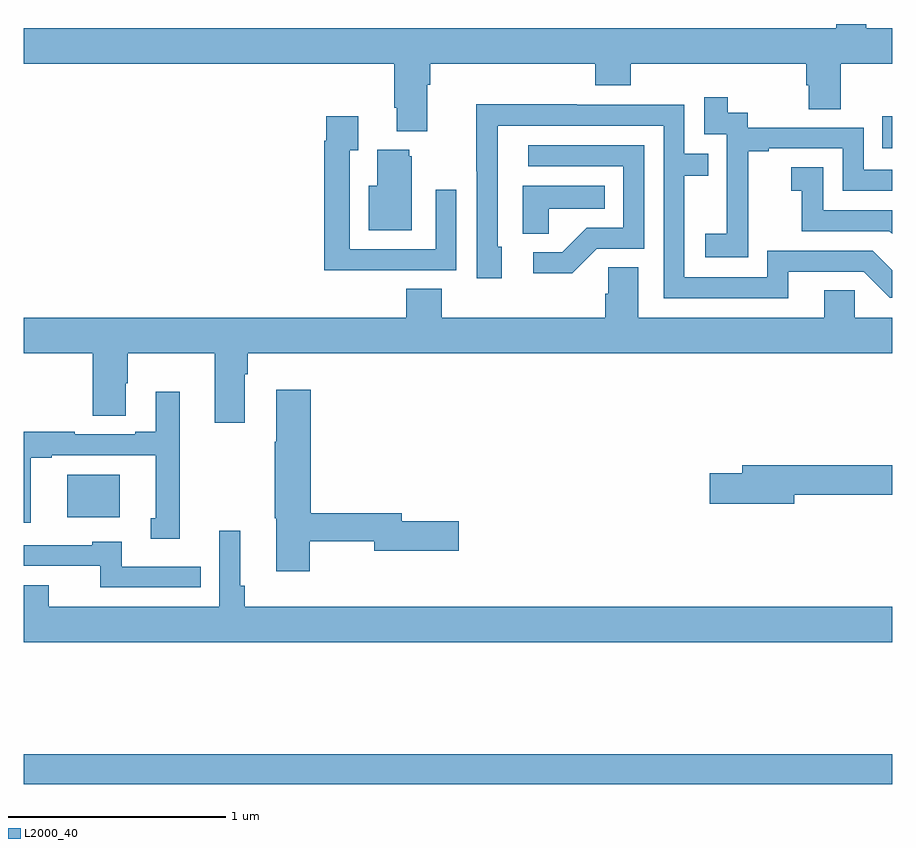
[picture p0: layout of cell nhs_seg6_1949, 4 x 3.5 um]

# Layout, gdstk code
import gdstk
lib = gdstk.Library(unit=1e-6, precision=1e-09)
def R(c, l, rs):  # rectangles x0, y0, x1, y1
    for r in rs: c.add(gdstk.rectangle(r[:2], r[2:], *l))
def P(c, l, *ps):  # polygons
    for p in ps: c.add(gdstk.Polygon(p, *l))
L2000_40 = (2000, 40)

nhs_seg6_1949 = lib.new_cell('nhs_seg6_1949')
R(nhs_seg6_1949, L2000_40, [(227,964,231,964.136), (227.201,965.228,227.443,965.425), (230.953,966.927,231,967.075)])
P(nhs_seg6_1949, L2000_40, [(228.859,967.22),(228.872,967.22),(228.872,967.316),(229.631,967.316),(229.631,967.217),(229.796,967.217),(229.796,967.316),(230.603,967.316),(230.603,967.218),(230.615,967.218),(230.615,967.108),(230.763,967.108),(230.763,967.316),(231,967.316),(231,967.48),(230.881,967.48),(230.881,967.5),(230.741,967.5),(230.741,967.48),(227,967.48),(227,967.316),(228.707,967.316),(228.707,967.114),(228.719,967.114),(228.719,967.007),(228.859,967.007)],
  [(230.337,966.631),(230.336,966.631),(230.336,966.915),(230.431,966.915),(230.431,966.927),(230.772,966.927),(230.772,966.732),(231,966.732),(231,966.828),(230.868,966.828),(230.868,967.023),(230.334,967.023),(230.334,967.092),(230.242,967.092),(230.242,967.162),(230.133,967.162),(230.133,966.993),(230.238,966.993),(230.238,966.764),(230.237,966.764),(230.237,966.535),(230.139,966.535),(230.139,966.425),(230.337,966.425)],
  [(230.521,966.36),(230.868,966.36),(230.988,966.24),(231,966.24),(231,966.366),(230.91,966.456),(230.424,966.456),(230.424,966.333),(230.043,966.333),(230.043,966.802),(230.153,966.802),(230.153,966.903),(230.043,966.903),(230.043,967.128),(229.547,967.128),(229.547,967.13),(229.084,967.13),(229.084,966.823),(229.086,966.823),(229.086,966.33),(229.201,966.33),(229.201,966.474),(229.182,966.474),(229.182,967.032),(229.947,967.032),(229.947,966.237),(230.521,966.237)],
  [(228.677,966.366),(228.993,966.366),(228.993,966.736),(228.897,966.736),(228.897,966.462),(228.501,966.462),(228.501,966.919),(228.541,966.919),(228.541,967.075),(228.393,967.075),(228.393,966.962),(228.385,966.962),(228.385,966.365),(228.677,966.365)],
  [(229.638,966.465),(229.857,966.465),(229.857,966.942),(229.323,966.942),(229.323,966.846),(229.761,966.846),(229.761,966.561),(229.592,966.561),(229.481,966.45),(229.347,966.45),(229.347,966.353),(229.525,966.353)],
  [(228.787,966.891),(228.776,966.891),(228.776,966.922),(228.629,966.922),(228.629,966.754),(228.59,966.754),(228.59,966.551),(228.787,966.551)],
  [(231,966.642),(230.682,966.642),(230.682,966.841),(230.535,966.841),(230.535,966.731),(230.584,966.731),(230.584,966.546),(230.987,966.546),(231,966.533)],
  [(229.419,966.65),(229.676,966.65),(229.676,966.754),(229.298,966.754),(229.298,966.535),(229.419,966.535)],
  [(228.019,965.888),(228.032,965.888),(228.032,965.984),(231,965.984),(231,966.148),(230.826,966.148),(230.826,966.275),(230.687,966.275),(230.687,966.148),(229.831,966.148),(229.831,966.38),(229.692,966.38),(229.692,966.257),(229.679,966.257),(229.679,966.148),(228.926,966.148),(228.926,966.281),(228.761,966.281),(228.761,966.148),(227,966.148),(227,965.984),(227.318,965.984),(227.318,965.695),(227.47,965.695),(227.47,965.846),(227.478,965.846),(227.478,965.984),(227.879,965.984),(227.879,965.664),(228.019,965.664)],
  [(228.318,965.118),(228.614,965.118),(228.614,965.075),(229.003,965.075),(229.003,965.21),(228.742,965.21),(228.742,965.246),(228.323,965.246),(228.323,965.815),(228.164,965.815),(228.164,965.576),(228.157,965.576),(228.157,965.223),(228.164,965.223),(228.164,964.98),(228.318,964.98)],
  [(227.719,965.806),(227.609,965.806),(227.609,965.623),(227.513,965.623),(227.513,965.61),(227.234,965.61),(227.234,965.623),(227,965.623),(227,965.202),(227.032,965.202),(227.032,965.502),(227.128,965.502),(227.128,965.514),(227.609,965.514),(227.609,965.223),(227.585,965.223),(227.585,965.129),(227.719,965.129)],
  [(230.548,965.332),(231,965.332),(231,965.468),(230.309,965.468),(230.309,965.432),(230.16,965.432),(230.16,965.29),(230.548,965.29)],
  [(231,964.816),(228.017,964.816),(228.017,964.912),(227.998,964.912),(227.998,965.167),(227.901,965.167),(227.901,964.816),(227.116,964.816),(227.116,964.915),(227,964.915),(227,964.652),(231,964.652)],
  [(227.816,965.001),(227.452,965.001),(227.452,965.116),(227.316,965.116),(227.316,965.1),(227,965.1),(227,965.004),(227.353,965.004),(227.353,964.905),(227.816,964.905)])

lib.write_gds('nhs_seg6_1949.gds')
